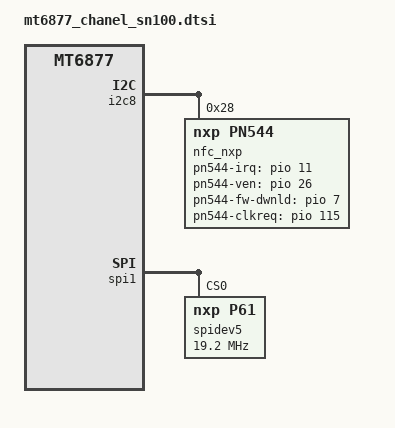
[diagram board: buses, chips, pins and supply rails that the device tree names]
/**********************************************************************************
* Copyright (c)  2008-2020  Guangdong oplus Mobile Comm Corp., Ltd
*
***********************************************************************************/
&odm {
	nfc_chipset:nfc_chipset {
		compatible = "oplus-nfc-chipset";
		chipset-22277 = "SN100T";
	};
};

&i2c8 {
       status = "okay";
       nfc_nxp@28 {
               compatible = "nxp,pn544";
               reg = <0x28>;
               nxp,pn544-irq = <&pio 11 0x0>;
               nxp,pn544-ven = <&pio 26 0x0>;
               nxp,pn544-fw-dwnld = <&pio 7 0x0>;
               nxp,pn544-clkreq = <&pio 115 0x0>;
               interrupt-parent = <&pio>;
       };
};

&spi1 {
       status = "okay";
       #address-cells = <1>;
       #size-cells = <0>;
       spidev5: p61@5 {
       compatible = "nxp,p61";
       reg = <0>;
       spi-max-frequency = <19200000>;
       };
};

